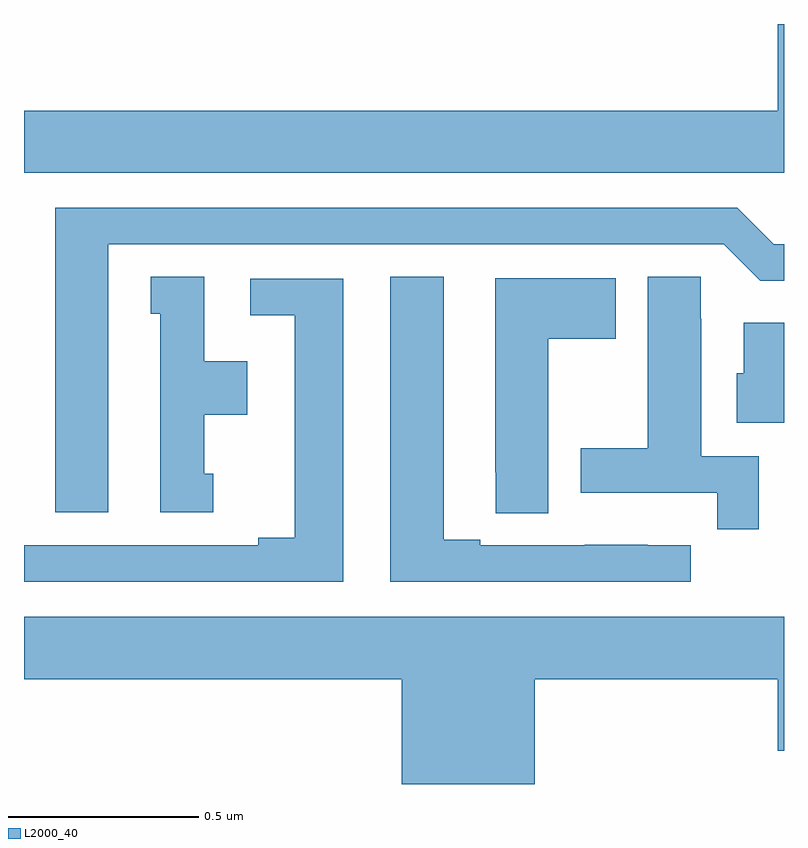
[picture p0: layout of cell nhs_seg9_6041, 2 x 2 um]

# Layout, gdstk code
import gdstk
lib = gdstk.Library(unit=1e-6, precision=1e-09)
def P(c, l, *ps):  # polygons
    for p in ps: c.add(gdstk.Polygon(p, *l))
L2000_40 = (2000, 40)

nhs_seg9_6041 = lib.new_cell('nhs_seg9_6041')
P(nhs_seg9_6041, L2000_40, [(189,1175.5),(188.984,1175.5),(188.984,1175.272),(187,1175.272),(187,1175.108),(189,1175.108)],
  [(187.222,1174.92),(188.841,1174.92),(188.937,1174.824),(189,1174.824),(189,1174.92),(188.973,1174.92),(188.877,1175.016),(187.082,1175.016),(187.082,1174.215),(187.222,1174.215)],
  [(188.755,1174.128),(188.642,1174.128),(188.642,1174.129),(188.476,1174.129),(188.476,1174.128),(188.2,1174.128),(188.2,1174.143),(188.104,1174.143),(188.104,1174.835),(187.964,1174.835),(187.964,1174.032),(188.755,1174.032)],
  [(187.498,1174.317),(187.474,1174.317),(187.474,1174.472),(187.588,1174.472),(187.588,1174.612),(187.474,1174.612),(187.474,1174.835),(187.334,1174.835),(187.334,1174.737),(187.358,1174.737),(187.358,1174.215),(187.498,1174.215)],
  [(188.933,1174.362),(188.782,1174.362),(188.782,1174.724),(188.781,1174.724),(188.781,1174.835),(188.642,1174.835),(188.642,1174.383),(188.465,1174.383),(188.465,1174.266),(188.824,1174.266),(188.824,1174.17),(188.933,1174.17)],
  [(188.38,1174.672),(188.557,1174.672),(188.557,1174.831),(188.24,1174.831),(188.24,1174.321),(188.241,1174.321),(188.241,1174.213),(188.38,1174.213)],
  [(187.84,1174.83),(187.596,1174.83),(187.596,1174.734),(187.712,1174.734),(187.712,1174.148),(187.616,1174.148),(187.616,1174.128),(187,1174.128),(187,1174.032),(187.84,1174.032)],
  [(189,1174.714),(188.894,1174.714),(188.894,1174.581),(188.876,1174.581),(188.876,1174.451),(189,1174.451)],
  [(188.344,1173.776),(188.984,1173.776),(188.984,1173.588),(189,1173.588),(189,1173.94),(187,1173.94),(187,1173.776),(187.994,1173.776),(187.994,1173.5),(188.344,1173.5)])

lib.write_gds('nhs_seg9_6041.gds')
